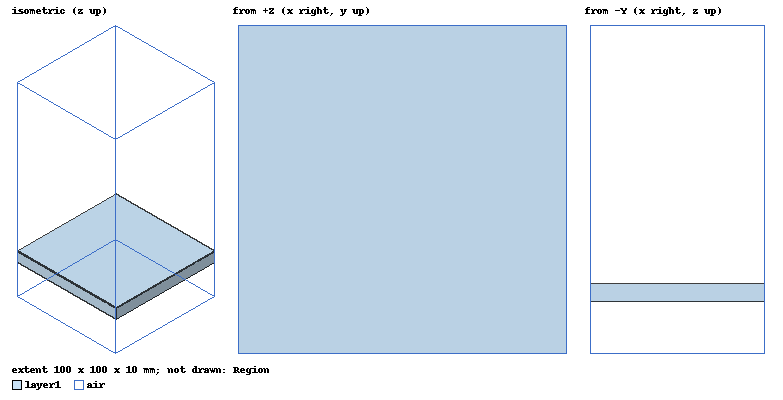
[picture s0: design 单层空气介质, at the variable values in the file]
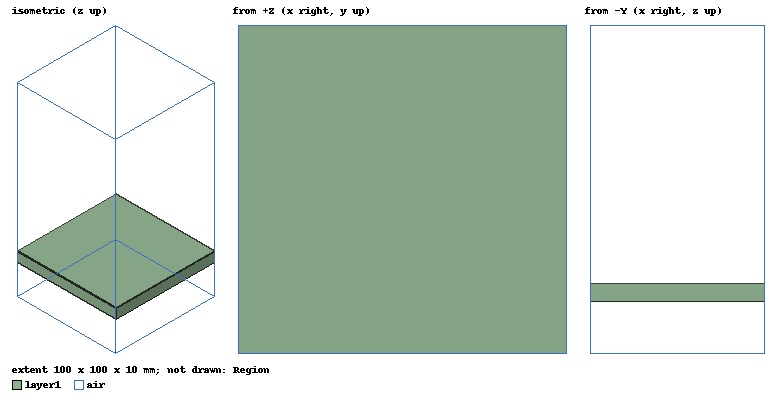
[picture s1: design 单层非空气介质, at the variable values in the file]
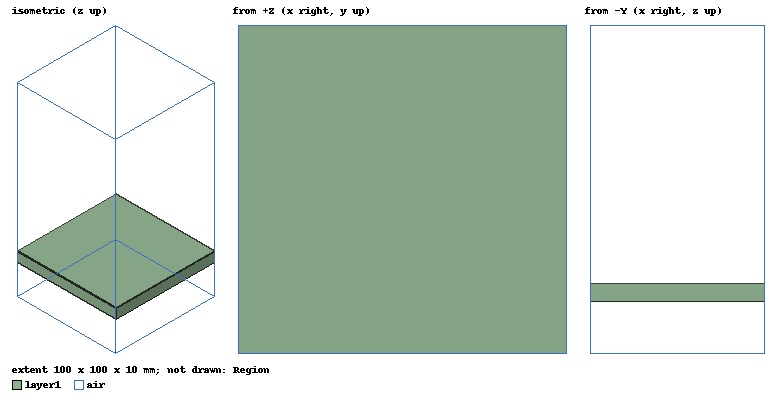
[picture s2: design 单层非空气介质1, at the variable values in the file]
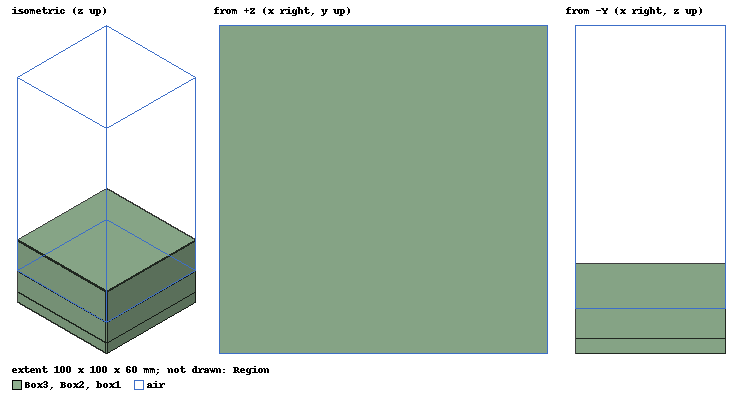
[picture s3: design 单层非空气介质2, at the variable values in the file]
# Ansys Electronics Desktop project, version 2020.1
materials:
  vacuum: permittivity=1
  Material1: permittivity=4
  Material2: permittivity=1.7
  Material3: permittivity=4.7
  Material4: permittivity=5.7
  Material5: permittivity=3.7

design 单层空气介质 (HFSS, DrivenModal, model units mm)
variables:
  a = 100mm
  b = a
  c = 187.5mm
  d1 = 10mm
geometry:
  air [vacuum] = box(corner=(0mm, 0mm, 0mm), size=(a, b, c))
  Region [vacuum] = region(absolute_offset: +X=0mm, -X=0mm, +Y=0mm, -Y=0mm, +Z=20mm, -Z=20mm)
  Polyline1 [non-model] = polyline((a/2, a/2, -20mm) (a/2, a/2, 2*a+20mm))
  [air, Polyline1].move(0mm, 0mm, 20mm)
  Polyline2 [non-model] = polyline((a/2, 0, 0) (a/2, a/2, 0))
  layer1 [vacuum] = box(corner=(0mm, 0mm, 50mm), size=(a, b, d1))
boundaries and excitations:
  Primary1: Primary Faces=Region.face(+y) CoordSysVector{Region.vertex(8 of 8) -> Region.vertex(5 of 8)}
  Primary2: Primary Faces=Region.face(-x) CoordSysVector{Region.vertex(8 of 8) -> Region.vertex(7 of 8)} ReverseV
  Secondary1: Secondary Faces=Region.face(-y) CoordSysVector{Region.vertex(7 of 8) -> Region.vertex(6 of 8)} ReverseV primary=Primary1 UseScanAngles Phi=0deg Theta=0deg
  Secondary2: Secondary Faces=Region.face(+x) CoordSysVector{Region.vertex(5 of 8) -> Region.vertex(6 of 8)} primary=Primary2 UseScanAngles Phi=0deg Theta=0deg
  Rad1: Radiation Faces=Region.face(+z)
  Rad2: Radiation Faces=Region.face(-z)
  IncPWave1: Plane Incident Wave IsCartesian EoX=1 EoY=0 EoZ=0 kX=0 kY=0 kZ=1 OriginX=0mm OriginY=0mm OriginZ=0mm IsPropagating
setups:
  Setup1: HfssDriven Frequency=2.4GHz MaxDeltaE=0.1 MaximumPasses=6 MinimumPasses=1 MinimumConvergedPasses=1 PercentRefinement=30 BasisOrder=1
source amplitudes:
  IncPWave1:1: 1V_per_meter 0deg
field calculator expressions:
  P_av = Vector_RealPoynting | Mag
  P_t = Vector_E | Vector_H | Cross
  Mag_P_t = P_t | Mag
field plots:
  瞬时能流密度: power density (t) on Setup1 : LastAdaptive at Freq=2.4GHz Phase=0deg
  平均能流密度: Poynting on Setup1 : LastAdaptive at Freq=2.4GHz Phase=0deg
  瞬时电场, Vector_E1: E Field on Setup1 : LastAdaptive at Freq=2.4GHz Phase=0deg
  瞬时磁场: H Field on Setup1 : LastAdaptive at Freq=2.4GHz Phase=0deg
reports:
  E&H振幅: ComplexMag_E, ComplexMag_H vs Distance on Setup1 : LastAdaptive [Freq=2.4GHz Phase=0deg]
  平均功率流密度: P_av vs Distance on Setup1 : LastAdaptive [Freq=2.4GHz Phase=0deg]
  瞬时电磁场: Mag_E, Mag_H vs Distance on Setup1 : LastAdaptive [Freq=2.4GHz Phase=0deg]; markers MX1 at x=0
  瞬时功率流密度: Mag_P_t vs Distance on Setup1 : LastAdaptive [Freq=2.4GHz Phase=0deg]

design 单层非空气介质 (HFSS, DrivenModal, model units mm)
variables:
  a = 100mm
  b = a
  c = 187.5mm
  d1 = 10mm
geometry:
  air [vacuum] = box(corner=(0mm, 0mm, 0mm), size=(a, b, c))
  Region [vacuum] = region(absolute_offset: +X=0mm, -X=0mm, +Y=0mm, -Y=0mm, +Z=20mm, -Z=20mm)
  Polyline1 [non-model] = polyline((a/2, a/2, -20mm) (a/2, a/2, 2*a+20mm))
  [air, Polyline1].move(0mm, 0mm, 20mm)
  Polyline2 [non-model] = polyline((a/2, 0, 0) (a/2, a/2, 0))
  layer1 [Material1] = box(corner=(0mm, 0mm, 50mm), size=(a, b, d1))
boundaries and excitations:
  Primary1: Primary Faces=Region.face(+y) CoordSysVector{Region.vertex(8 of 8) -> Region.vertex(5 of 8)}
  Primary2: Primary Faces=Region.face(-x) CoordSysVector{Region.vertex(8 of 8) -> Region.vertex(7 of 8)} ReverseV
  Secondary1: Secondary Faces=Region.face(-y) CoordSysVector{Region.vertex(7 of 8) -> Region.vertex(6 of 8)} ReverseV primary=Primary1 UseScanAngles Phi=0deg Theta=0deg
  Secondary2: Secondary Faces=Region.face(+x) CoordSysVector{Region.vertex(5 of 8) -> Region.vertex(6 of 8)} primary=Primary2 UseScanAngles Phi=0deg Theta=0deg
  Rad1: Radiation Faces=Region.face(+z)
  Rad2: Radiation Faces=Region.face(-z)
  IncPWave1: Plane Incident Wave IsCartesian EoX=1 EoY=0 EoZ=0 kX=0 kY=0 kZ=1 OriginX=0mm OriginY=0mm OriginZ=0mm IsPropagating
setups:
  Setup1: HfssDriven Frequency=2.4GHz MaxDeltaE=0.1 MaximumPasses=10 MinimumPasses=1 MinimumConvergedPasses=1 PercentRefinement=30 BasisOrder=1
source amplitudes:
  IncPWave1:1: 1V_per_meter 0deg
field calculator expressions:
  P_av = Vector_RealPoynting | Mag
  P_t = Vector_E | Vector_H | Cross
  Mag_P_t = P_t | Mag
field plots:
  瞬时能流密度: power density (t) on Setup1 : LastAdaptive at Freq=2.4GHz Phase=0deg
  平均能流密度: Poynting on Setup1 : LastAdaptive at Freq=2.4GHz Phase=0deg
  瞬时电场, Vector_E1: E Field on Setup1 : LastAdaptive at Freq=2.4GHz Phase=0deg
  瞬时磁场: H Field on Setup1 : LastAdaptive at Freq=2.4GHz Phase=0deg
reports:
  E&H振幅: ComplexMag_E, ComplexMag_H vs Distance on Setup1 : LastAdaptive [Freq=2.4GHz Phase=0deg]
  平均功率流密度: P_av vs Distance on Setup1 : LastAdaptive [Freq=2.4GHz Phase=0deg]
  瞬时电磁场: Mag_E, Mag_H vs Distance on Setup1 : LastAdaptive [Freq=2.4GHz Phase=0deg]; markers MX1 at x=0
  瞬时功率流密度: Mag_P_t vs Distance on Setup1 : LastAdaptive [Freq=2.4GHz Phase=0deg]

design 单层非空气介质1 (HFSS, DrivenModal, model units mm)
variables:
  a = 100mm
  b = a
  c = 187.5mm
  d1 = 10mm
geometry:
  air [vacuum] = box(corner=(0mm, 0mm, 0mm), size=(a, b, c))
  Region [vacuum] = region(absolute_offset: +X=0mm, -X=0mm, +Y=0mm, -Y=0mm, +Z=20mm, -Z=20mm)
  Polyline1 [non-model] = polyline((a/2, a/2, -20mm) (a/2, a/2, 2*a+20mm))
  [air, Polyline1].move(0mm, 0mm, 20mm)
  Polyline2 [non-model] = polyline((a/2, 0, 0) (a/2, a/2, 0))
  layer1 [Material1] = box(corner=(0mm, 0mm, 50mm), size=(a, b, d1))
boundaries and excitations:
  Primary1: Primary Faces=Region.face(+y) CoordSysVector{Region.vertex(8 of 8) -> Region.vertex(5 of 8)}
  Primary2: Primary Faces=Region.face(-x) CoordSysVector{Region.vertex(8 of 8) -> Region.vertex(7 of 8)} ReverseV
  Secondary1: Secondary Faces=Region.face(-y) CoordSysVector{Region.vertex(7 of 8) -> Region.vertex(6 of 8)} ReverseV primary=Primary1 UseScanAngles Phi=0deg Theta=0deg
  Secondary2: Secondary Faces=Region.face(+x) CoordSysVector{Region.vertex(5 of 8) -> Region.vertex(6 of 8)} primary=Primary2 UseScanAngles Phi=0deg Theta=0deg
  Rad1: Radiation Faces=Region.face(+z)
  Rad2: Radiation Faces=Region.face(-z)
  IncPWave1: Plane Incident Wave IsCartesian EoX=1 EoY=0 EoZ=0 kX=0 kY=0 kZ=1 OriginX=0mm OriginY=0mm OriginZ=0mm IsPropagating
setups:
  Setup1: HfssDriven Frequency=2.4GHz MaxDeltaE=0.1 MaximumPasses=10 MinimumPasses=1 MinimumConvergedPasses=1 PercentRefinement=30 BasisOrder=1
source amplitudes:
  IncPWave1:1: 1V_per_meter 0deg
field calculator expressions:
  P_av = Vector_RealPoynting | Mag
  P_t = Vector_E | Vector_H | Cross
  Mag_P_t = P_t | Mag
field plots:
  瞬时能流密度: power density (t) on Setup1 : LastAdaptive at Freq=2.4GHz Phase=0deg
  平均能流密度: Poynting on Setup1 : LastAdaptive at Freq=2.4GHz Phase=0deg
  瞬时电场, Vector_E1: E Field on Setup1 : LastAdaptive at Freq=2.4GHz Phase=0deg
  瞬时磁场: H Field on Setup1 : LastAdaptive at Freq=2.4GHz Phase=0deg
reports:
  E&H振幅: ComplexMag_E, ComplexMag_H vs Distance on Setup1 : LastAdaptive [Freq=2.4GHz Phase=0deg]
  平均功率流密度: P_av vs Distance on Setup1 : LastAdaptive [Freq=2.4GHz Phase=0deg]
  瞬时电磁场: Mag_E, Mag_H vs Distance on Setup1 : LastAdaptive [Freq=2.4GHz Phase=0deg]; markers MX1 at x=0
  瞬时功率流密度: Mag_P_t vs Distance on Setup1 : LastAdaptive [Freq=2.4GHz Phase=0deg]

design 单层非空气介质2 (HFSS, DrivenModal, model units mm)
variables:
  a = 100mm
  b = a
  c = 187.5mm
  d1 = 10mm
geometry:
  air [vacuum] = box(corner=(0mm, 0mm, 60mm), size=(a, b, c))
  Region [vacuum] = region(absolute_offset: +X=0mm, -X=0mm, +Y=0mm, -Y=0mm, +Z=20mm, -Z=20mm)
  Polyline1 [non-model] = polyline((a/2, a/2, -20mm) (a/2, a/2, 2*a+20mm))
  [air, Polyline1].move(0mm, 0mm, 20mm)
  Polyline2 [non-model] = polyline((a/2, 0, 0) (a/2, a/2, 0))
  box1 [Material5] = box(corner=(0mm, 0mm, 50mm), size=(a, b, d1))
  Box2 [Material3] = box(corner=(0mm, 0mm, 60mm), size=(100mm, 100mm, 20mm))
  Box3 [Material4] = box(corner=(0mm, 0mm, 80mm), size=(100mm, 100mm, 30mm))
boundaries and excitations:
  Primary1: Primary Faces=Region.face(+y) CoordSysVector{Region.vertex(8 of 8) -> Region.vertex(5 of 8)}
  Primary2: Primary Faces=Region.face(-x) CoordSysVector{Region.vertex(8 of 8) -> Region.vertex(7 of 8)} ReverseV
  Secondary1: Secondary Faces=Region.face(-y) CoordSysVector{Region.vertex(7 of 8) -> Region.vertex(6 of 8)} ReverseV primary=Primary1 UseScanAngles Phi=0deg Theta=0deg
  Secondary2: Secondary Faces=Region.face(+x) CoordSysVector{Region.vertex(5 of 8) -> Region.vertex(6 of 8)} primary=Primary2 UseScanAngles Phi=0deg Theta=0deg
  Rad1: Radiation Faces=Region.face(+z)
  Rad2: Radiation Faces=Region.face(-z)
  Rad3: Radiation Objects=Region
  IncPWave1: Plane Incident Wave IsCartesian EoX=1 EoY=0 EoZ=0 kX=0 kY=0 kZ=1 OriginX=0mm OriginY=0mm OriginZ=0mm IsPropagating
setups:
  Setup1: HfssDriven Frequency=2.4GHz MaxDeltaE=0.1 MaximumPasses=10 MinimumPasses=1 MinimumConvergedPasses=1 PercentRefinement=30 BasisOrder=1
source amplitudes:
  IncPWave1:1: 1V_per_meter 0deg
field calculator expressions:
  P_av = Vector_RealPoynting | Mag
  P_t = Vector_E | Vector_H | Cross
  Mag_P_t = P_t | Mag
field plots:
  瞬时能流密度: power density (t) on Setup1 : LastAdaptive at Freq=2.4GHz Phase=0deg
  平均能流密度: Poynting on Setup1 : LastAdaptive at Freq=2.4GHz Phase=0deg
  瞬时电场, Vector_E1: E Field on Setup1 : LastAdaptive at Freq=2.4GHz Phase=0deg
  瞬时磁场: H Field on Setup1 : LastAdaptive at Freq=2.4GHz Phase=0deg
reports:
  E&H振幅: ComplexMag_E, ComplexMag_H vs Distance on Setup1 : LastAdaptive [Freq=2.4GHz Phase=0deg]
  平均功率流密度: P_av vs Distance on Setup1 : LastAdaptive [Freq=2.4GHz Phase=0deg]
  瞬时电磁场: Mag_E, Mag_H vs Distance on Setup1 : LastAdaptive [Freq=2.4GHz Phase=0deg]; markers MX1 at x=0
  瞬时功率流密度: Mag_P_t vs Distance on Setup1 : LastAdaptive [Freq=2.4GHz Phase=0deg]
